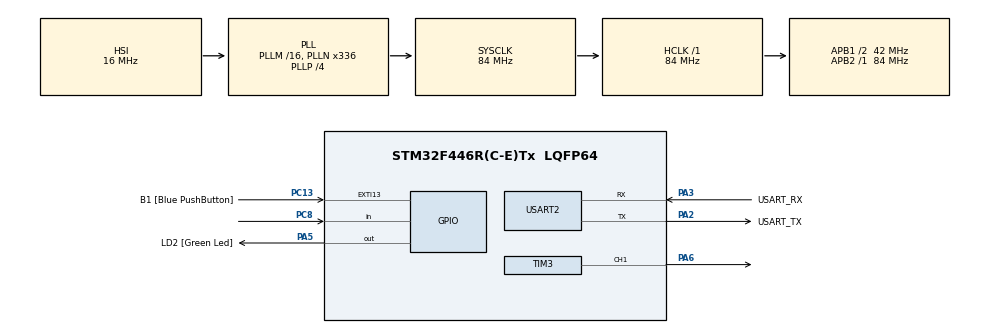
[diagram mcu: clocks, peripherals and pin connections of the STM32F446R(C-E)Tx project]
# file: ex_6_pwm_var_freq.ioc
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Mcu.Family=STM32F4
Mcu.Name=STM32F446R(C-E)Tx
Mcu.Package=LQFP64
NVIC.PriorityGroup=NVIC_PRIORITYGROUP_0
NVIC.TIM2_IRQn=true\:0\:0\:false\:false\:true\:true\:true\:true
PA13.GPIO_Label=TMS
PA13.Mode=Serial_Wire
PA13.Signal=SYS_JTMS-SWDIO
PA14.GPIO_Label=TCK
PA14.Mode=Serial_Wire
PA14.Signal=SYS_JTCK-SWCLK
PA2.GPIO_Label=USART_TX
PA2.Mode=Asynchronous
PA2.Signal=USART2_TX
PA3.GPIO_Label=USART_RX
PA3.Mode=Asynchronous
PA3.Signal=USART2_RX
PA5.GPIO_Label=LD2 [Green Led]
PA5.Signal=GPIO_Output
PA6.Signal=S_TIM3_CH1
PB3.GPIO_Label=SWO
PB3.Signal=SYS_JTDO-SWO
PC13.GPIO_Label=B1 [Blue PushButton]
PC13.GPIO_ModeDefaultEXTI=GPIO_MODE_IT_FALLING
PC13.Signal=GPXTI13
PC14-OSC32_IN.Mode=LSE-External-Oscillator
PC14-OSC32_IN.Signal=RCC_OSC32_IN
PC15-OSC32_OUT.Mode=LSE-External-Oscillator
PC15-OSC32_OUT.Signal=RCC_OSC32_OUT
PC8.Signal=GPIO_Input
PH0-OSC_IN.Mode=HSE-External-Oscillator
PH0-OSC_IN.Signal=RCC_OSC_IN
PH1-OSC_OUT.Mode=HSE-External-Oscillator
PH1-OSC_OUT.Signal=RCC_OSC_OUT
ProjectManager.HeapSize=0x200
ProjectManager.StackSize=0x400
ProjectManager.TargetToolchain=STM32CubeIDE
RCC.48MHZClocksFreq_Value=84000000
RCC.AHBFreq_Value=84000000
RCC.APB1CLKDivider=RCC_HCLK_DIV2
RCC.APB1Freq_Value=42000000
RCC.APB1TimFreq_Value=84000000
RCC.APB2Freq_Value=84000000
RCC.APB2TimFreq_Value=84000000
RCC.CortexFreq_Value=84000000
RCC.FLatency-AdvancedSettings=FLASH_LATENCY_2
RCC.HCLKFreq_Value=84000000
RCC.HSE_VALUE=8000000
RCC.HSI_VALUE=16000000
RCC.PLLN=336
RCC.PLLP=RCC_PLLP_DIV4
RCC.SYSCLKFreq_VALUE=84000000
RCC.SYSCLKSource=RCC_SYSCLKSOURCE_PLLCLK
RCC.USBFreq_Value=168000000
RCC.VCOOutputFreq_Value=336000000
SH.S_TIM3_CH1.0=TIM3_CH1,PWM Generation1 CH1
TIM2.Period=30000
TIM2.Prescaler=8400-1
TIM3.Channel-PWM\ Generation1\ CH1=TIM_CHANNEL_1
TIM3.Period=100-1
TIM3.Prescaler=840-1
USART2.VirtualMode=VM_ASYNC
VP_TIM2_VS_ClockSourceINT.Mode=Internal
VP_TIM3_VS_ClockSourceINT.Mode=Internal
board=NUCLEO-F446RE

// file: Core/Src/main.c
/* USER CODE BEGIN Header */
/**
  ******************************************************************************
  * @file           : main.c
  * @brief          : Main program body
  ******************************************************************************
  * @attention
  *
  * Copyright (c) 2025 STMicroelectronics.
  * All rights reserved.
  *
  * This software is licensed under terms that can be found in the LICENSE file
  * in the root directory of this software component.
  * If no LICENSE file comes with this software, it is provided AS-IS.
  *
  ******************************************************************************
  */
/* USER CODE END Header */
#include "main.h"

TIM_HandleTypeDef htim2;
TIM_HandleTypeDef htim3;

UART_HandleTypeDef huart2;

void SystemClock_Config(void);
static void MX_GPIO_Init(void);
static void MX_USART2_UART_Init(void);
static void MX_TIM3_Init(void);
static void MX_TIM2_Init(void);

/* USER CODE BEGIN 0 */
int a;
int x=0;
void HAL_TIM_PeriodElapsedCallback(TIM_HandleTypeDef *htim)
{
  switch (x) {
	case 0:
		TIM3->ARR = 100-1;
		TIM3->CCR1 = 50;
		x=1;
		break;
	case 1:
		TIM3->ARR = 50-1;
		TIM3->CCR1 = 25;
		x=0;
		break;
}
}
/* USER CODE END 0 */

int main(void)
{

  /* MCU Configuration--------------------------------------------------------*/

  /* Reset of all peripherals, Initializes the Flash interface and the Systick. */
  HAL_Init();

  /* Configure the system clock */
  SystemClock_Config();

  /* Initialize all configured peripherals */
  MX_GPIO_Init();
  MX_USART2_UART_Init();
  MX_TIM3_Init();
  MX_TIM2_Init();
  /* USER CODE BEGIN 2 */
  TIM3->CCR1 = 50;
  HAL_TIM_PWM_Start(&htim3, TIM_CHANNEL_1);
  HAL_TIM_Base_Start_IT(&htim2);
  /* USER CODE END 2 */

  /* Infinite loop */
  while (1)
  {
	  a= HAL_GPIO_ReadPin(GPIOC, GPIO_PIN_8);
	  HAL_Delay(1);
  }
}

void SystemClock_Config(void)
{
  RCC_OscInitTypeDef RCC_OscInitStruct = {0};
  RCC_ClkInitTypeDef RCC_ClkInitStruct = {0};

  /** Configure the main internal regulator output voltage
  */
  __HAL_RCC_PWR_CLK_ENABLE();
  __HAL_PWR_VOLTAGESCALING_CONFIG(PWR_REGULATOR_VOLTAGE_SCALE3);

  /** Initializes the RCC Oscillators according to the specified parameters
  * in the RCC_OscInitTypeDef structure.
  */
  RCC_OscInitStruct.OscillatorType = RCC_OSCILLATORTYPE_HSI;
  RCC_OscInitStruct.HSIState = RCC_HSI_ON;
  RCC_OscInitStruct.HSICalibrationValue = RCC_HSICALIBRATION_DEFAULT;
  RCC_OscInitStruct.PLL.PLLState = RCC_PLL_ON;
  RCC_OscInitStruct.PLL.PLLSource = RCC_PLLSOURCE_HSI;
  RCC_OscInitStruct.PLL.PLLM = 16;
  RCC_OscInitStruct.PLL.PLLN = 336;
  RCC_OscInitStruct.PLL.PLLP = RCC_PLLP_DIV4;
  RCC_OscInitStruct.PLL.PLLQ = 2;
  RCC_OscInitStruct.PLL.PLLR = 2;
  if (HAL_RCC_OscConfig(&RCC_OscInitStruct) != HAL_OK)
  {
    Error_Handler();
  }

  /** Initializes the CPU, AHB and APB buses clocks
  */
  RCC_ClkInitStruct.ClockType = RCC_CLOCKTYPE_HCLK|RCC_CLOCKTYPE_SYSCLK
                              |RCC_CLOCKTYPE_PCLK1|RCC_CLOCKTYPE_PCLK2;
  RCC_ClkInitStruct.SYSCLKSource = RCC_SYSCLKSOURCE_PLLCLK;
  RCC_ClkInitStruct.AHBCLKDivider = RCC_SYSCLK_DIV1;
  RCC_ClkInitStruct.APB1CLKDivider = RCC_HCLK_DIV2;
  RCC_ClkInitStruct.APB2CLKDivider = RCC_HCLK_DIV1;

  if (HAL_RCC_ClockConfig(&RCC_ClkInitStruct, FLASH_LATENCY_2) != HAL_OK)
  {
    Error_Handler();
  }
}

static void MX_TIM2_Init(void)
{

  TIM_ClockConfigTypeDef sClockSourceConfig = {0};
  TIM_MasterConfigTypeDef sMasterConfig = {0};

  htim2.Instance = TIM2;
  htim2.Init.Prescaler = 8400-1;
  htim2.Init.CounterMode = TIM_COUNTERMODE_UP;
  htim2.Init.Period = 30000;
  htim2.Init.ClockDivision = TIM_CLOCKDIVISION_DIV1;
  htim2.Init.AutoReloadPreload = TIM_AUTORELOAD_PRELOAD_DISABLE;
  if (HAL_TIM_Base_Init(&htim2) != HAL_OK)
  {
    Error_Handler();
  }
  sClockSourceConfig.ClockSource = TIM_CLOCKSOURCE_INTERNAL;
  if (HAL_TIM_ConfigClockSource(&htim2, &sClockSourceConfig) != HAL_OK)
  {
    Error_Handler();
  }
  sMasterConfig.MasterOutputTrigger = TIM_TRGO_RESET;
  sMasterConfig.MasterSlaveMode = TIM_MASTERSLAVEMODE_DISABLE;
  if (HAL_TIMEx_MasterConfigSynchronization(&htim2, &sMasterConfig) != HAL_OK)
  {
    Error_Handler();
  }

}

static void MX_TIM3_Init(void)
{

  TIM_ClockConfigTypeDef sClockSourceConfig = {0};
  TIM_MasterConfigTypeDef sMasterConfig = {0};
  TIM_OC_InitTypeDef sConfigOC = {0};

  htim3.Instance = TIM3;
  htim3.Init.Prescaler = 8400-1;
  htim3.Init.CounterMode = TIM_COUNTERMODE_UP;
  htim3.Init.Period = 1000-1;
  htim3.Init.ClockDivision = TIM_CLOCKDIVISION_DIV1;
  htim3.Init.AutoReloadPreload = TIM_AUTORELOAD_PRELOAD_DISABLE;
  if (HAL_TIM_Base_Init(&htim3) != HAL_OK)
  {
    Error_Handler();
  }
  sClockSourceConfig.ClockSource = TIM_CLOCKSOURCE_INTERNAL;
  if (HAL_TIM_ConfigClockSource(&htim3, &sClockSourceConfig) != HAL_OK)
  {
    Error_Handler();
  }
  if (HAL_TIM_PWM_Init(&htim3) != HAL_OK)
  {
    Error_Handler();
  }
  sMasterConfig.MasterOutputTrigger = TIM_TRGO_RESET;
  sMasterConfig.MasterSlaveMode = TIM_MASTERSLAVEMODE_DISABLE;
  if (HAL_TIMEx_MasterConfigSynchronization(&htim3, &sMasterConfig) != HAL_OK)
  {
    Error_Handler();
  }
  sConfigOC.OCMode = TIM_OCMODE_PWM1;
  sConfigOC.Pulse = 0;
  sConfigOC.OCPolarity = TIM_OCPOLARITY_HIGH;
  sConfigOC.OCFastMode = TIM_OCFAST_DISABLE;
  if (HAL_TIM_PWM_ConfigChannel(&htim3, &sConfigOC, TIM_CHANNEL_1) != HAL_OK)
  {
    Error_Handler();
  }
  HAL_TIM_MspPostInit(&htim3);

}

static void MX_USART2_UART_Init(void)
{

  huart2.Instance = USART2;
  huart2.Init.BaudRate = 115200;
  huart2.Init.WordLength = UART_WORDLENGTH_8B;
  huart2.Init.StopBits = UART_STOPBITS_1;
  huart2.Init.Parity = UART_PARITY_NONE;
  huart2.Init.Mode = UART_MODE_TX_RX;
  huart2.Init.HwFlowCtl = UART_HWCONTROL_NONE;
  huart2.Init.OverSampling = UART_OVERSAMPLING_16;
  if (HAL_UART_Init(&huart2) != HAL_OK)
  {
    Error_Handler();
  }

}

static void MX_GPIO_Init(void)
{
  GPIO_InitTypeDef GPIO_InitStruct = {0};

  /* GPIO Ports Clock Enable */
  __HAL_RCC_GPIOC_CLK_ENABLE();
  __HAL_RCC_GPIOH_CLK_ENABLE();
  __HAL_RCC_GPIOA_CLK_ENABLE();
  __HAL_RCC_GPIOB_CLK_ENABLE();

  /*Configure GPIO pin Output Level */
  HAL_GPIO_WritePin(LD2_GPIO_Port, LD2_Pin, GPIO_PIN_RESET);

  /*Configure GPIO pin : B1_Pin */
  GPIO_InitStruct.Pin = B1_Pin;
  GPIO_InitStruct.Mode = GPIO_MODE_IT_FALLING;
  GPIO_InitStruct.Pull = GPIO_NOPULL;
  HAL_GPIO_Init(B1_GPIO_Port, &GPIO_InitStruct);

  /*Configure GPIO pin : LD2_Pin */
  GPIO_InitStruct.Pin = LD2_Pin;
  GPIO_InitStruct.Mode = GPIO_MODE_OUTPUT_PP;
  GPIO_InitStruct.Pull = GPIO_NOPULL;
  GPIO_InitStruct.Speed = GPIO_SPEED_FREQ_LOW;
  HAL_GPIO_Init(LD2_GPIO_Port, &GPIO_InitStruct);

  /*Configure GPIO pin : PC8 */
  GPIO_InitStruct.Pin = GPIO_PIN_8;
  GPIO_InitStruct.Mode = GPIO_MODE_INPUT;
  GPIO_InitStruct.Pull = GPIO_NOPULL;
  HAL_GPIO_Init(GPIOC, &GPIO_InitStruct);

}

void Error_Handler(void)
{
  __disable_irq();
  while (1)
  {
  }
}
